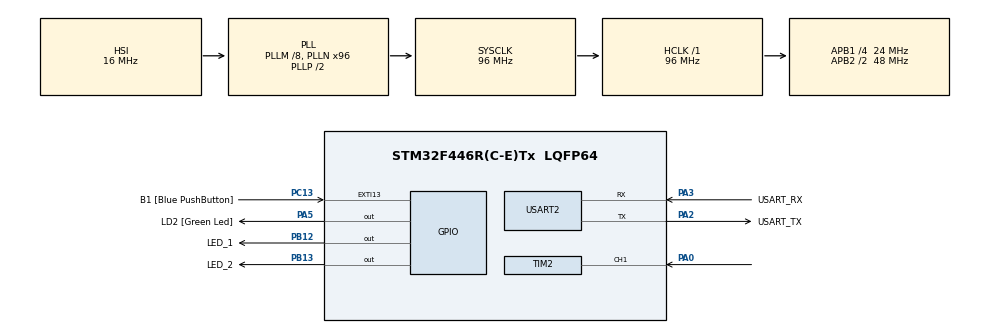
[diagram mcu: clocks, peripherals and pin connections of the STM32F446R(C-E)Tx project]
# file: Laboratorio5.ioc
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Mcu.Family=STM32F4
Mcu.Name=STM32F446R(C-E)Tx
Mcu.Package=LQFP64
NVIC.PriorityGroup=NVIC_PRIORITYGROUP_0
NVIC.TIM2_IRQn=true\:0\:0\:false\:false\:true\:true\:true\:true
NVIC.TIM6_DAC_IRQn=true\:0\:0\:false\:false\:true\:true\:true\:true
NVIC.TIM7_IRQn=true\:0\:0\:false\:false\:true\:true\:true\:true
NVIC.USART2_IRQn=true\:0\:0\:false\:false\:true\:true\:true\:true
PA0-WKUP.Signal=S_TIM2_CH1_ETR
PA13.GPIO_Label=TMS
PA13.Mode=Serial_Wire
PA13.Signal=SYS_JTMS-SWDIO
PA14.GPIO_Label=TCK
PA14.Mode=Serial_Wire
PA14.Signal=SYS_JTCK-SWCLK
PA2.GPIO_Label=USART_TX
PA2.Mode=Asynchronous
PA2.Signal=USART2_TX
PA3.GPIO_Label=USART_RX
PA3.Mode=Asynchronous
PA3.Signal=USART2_RX
PA5.GPIO_Label=LD2 [Green Led]
PA5.Signal=GPIO_Output
PB12.GPIO_Label=LED_1
PB12.Signal=GPIO_Output
PB13.GPIO_Label=LED_2
PB13.Signal=GPIO_Output
PB3.GPIO_Label=SWO
PB3.Signal=SYS_JTDO-SWO
PC13.GPIO_Label=B1 [Blue PushButton]
PC13.GPIO_ModeDefaultEXTI=GPIO_MODE_IT_FALLING
PC13.Signal=GPXTI13
PC14-OSC32_IN.Mode=LSE-External-Oscillator
PC14-OSC32_IN.Signal=RCC_OSC32_IN
PC15-OSC32_OUT.Mode=LSE-External-Oscillator
PC15-OSC32_OUT.Signal=RCC_OSC32_OUT
PH0-OSC_IN.Mode=HSE-External-Oscillator
PH0-OSC_IN.Signal=RCC_OSC_IN
PH1-OSC_OUT.Mode=HSE-External-Oscillator
PH1-OSC_OUT.Signal=RCC_OSC_OUT
ProjectManager.HeapSize=0x200
ProjectManager.StackSize=0x400
ProjectManager.TargetToolchain=STM32CubeIDE
RCC.48MHZClocksFreq_Value=84000000
RCC.AHBFreq_Value=96000000
RCC.APB1CLKDivider=RCC_HCLK_DIV4
RCC.APB1Freq_Value=24000000
RCC.APB1TimFreq_Value=48000000
RCC.APB2CLKDivider=RCC_HCLK_DIV2
RCC.APB2Freq_Value=48000000
RCC.APB2TimFreq_Value=96000000
RCC.CortexFreq_Value=96000000
RCC.FLatency-AdvancedSettings=FLASH_LATENCY_3
RCC.HCLKFreq_Value=96000000
RCC.HSE_VALUE=8000000
RCC.HSI_VALUE=16000000
RCC.PLLM=8
RCC.PLLN=96
RCC.SYSCLKFreq_VALUE=96000000
RCC.SYSCLKSource=RCC_SYSCLKSOURCE_PLLCLK
RCC.USBFreq_Value=96000000
RCC.VCOOutputFreq_Value=192000000
SH.S_TIM2_CH1_ETR.0=TIM2_CH1,Input_Capture1_from_TI1
TIM2.AutoReloadPreload=TIM_AUTORELOAD_PRELOAD_ENABLE
TIM2.Channel-Input_Capture1_from_TI1=TIM_CHANNEL_1
TIM2.CounterMode=TIM_COUNTERMODE_UP
TIM2.Prescaler=48-1
TIM6.AutoReloadPreload=TIM_AUTORELOAD_PRELOAD_ENABLE
TIM6.Period=249-1
TIM6.Prescaler=48000-1
TIM6.TIM_MasterOutputTrigger=TIM_TRGO_UPDATE
TIM7.AutoReloadPreload=TIM_AUTORELOAD_PRELOAD_ENABLE
TIM7.Period=999-1
TIM7.Prescaler=48000-1
TIM7.TIM_MasterOutputTrigger=TIM_TRGO_UPDATE
USART2.VirtualMode=VM_ASYNC
VP_TIM2_VS_ClockSourceINT.Mode=Internal
VP_TIM6_VS_ClockSourceINT.Mode=Enable_Timer
VP_TIM7_VS_ClockSourceINT.Mode=Enable_Timer
board=NUCLEO-F446RE

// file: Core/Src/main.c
/* USER CODE BEGIN Header */
/**
  ******************************************************************************
  * @file           : main.c
  * @brief          : Main program body
  ******************************************************************************
  * @attention
  *
  * Copyright (c) 2026 STMicroelectronics.
  * All rights reserved.
  *
  * This software is licensed under terms that can be found in the LICENSE file
  * in the root directory of this software component.
  * If no LICENSE file comes with this software, it is provided AS-IS.
  *
  ******************************************************************************
  */
/* USER CODE END Header */
#include "main.h"

/* USER CODE BEGIN Includes */
#include <stdio.h>
#include <string.h>
/* USER CODE END Includes */

/* USER CODE BEGIN PD */
#define ftimclk 1000000
/* USER CODE END PD */

TIM_HandleTypeDef htim2;
TIM_HandleTypeDef htim6;
TIM_HandleTypeDef htim7;

UART_HandleTypeDef huart2;

/* USER CODE BEGIN PV */
// Variables para Input Capture
uint8_t flagMedicion = 0;
volatile uint8_t numFlanco = 0;
volatile uint32_t flanco1 = 0;
volatile uint32_t flanco2 = 0;

uint32_t delta = 0;
float frecuencia = 0;
// Variables para UART
uint8_t buffer[10];
uint8_t dato = 80;
char datoArray[20];

volatile uint8_t bandera_1 = 0;
volatile uint8_t bandera_2 = 0;
/* USER CODE END PV */

void SystemClock_Config(void);
static void MX_GPIO_Init(void);
static void MX_TIM2_Init(void);
static void MX_USART2_UART_Init(void);
static void MX_TIM6_Init(void);
static void MX_TIM7_Init(void);
/* USER CODE BEGIN PFP */
void HAL_TIM_IC_CaptureCallback(TIM_HandleTypeDef *him);
/* USER CODE END PFP */

int main(void)
{

  /* MCU Configuration--------------------------------------------------------*/

  /* Reset of all peripherals, Initializes the Flash interface and the Systick. */
  HAL_Init();

  /* Configure the system clock */
  SystemClock_Config();

  /* Initialize all configured peripherals */
  MX_GPIO_Init();
  MX_TIM2_Init();
  MX_USART2_UART_Init();
  MX_TIM6_Init();
  MX_TIM7_Init();
  /* USER CODE BEGIN 2 */

  HAL_TIM_IC_Start_IT(&htim2, TIM_CHANNEL_1);
  HAL_TIM_Base_Start_IT(&htim6);
  HAL_TIM_Base_Start_IT(&htim7);

  /* USER CODE END 2 */

  /* Infinite loop */
  /* USER CODE BEGIN WHILE */
  while (1)
  {
	  // Código no bloqueante para medir frecuencia de una señal
	  if(flagMedicion){
	      flagMedicion = 0;
	      delta = flanco2 - flanco1;
	      frecuencia = ftimclk / (float) delta;

	      //sprintf((char*)datoArray, "%lu\r\n", frecuencia);
	      //HAL_UART_Transmit(&huart2, datoArray, strlen((char*)datoArray), 1000);

	      sprintf(datoArray, "%.2f\r\n", frecuencia);
	      HAL_UART_Transmit(&huart2, datoArray, strlen(datoArray), 1000);

	      HAL_TIM_IC_Start_IT(&htim2, TIM_CHANNEL_1);
	  }

	  // Bandera que activo en interrupciones para hacer toggle a pin
      if(bandera_1){
    	  HAL_GPIO_TogglePin(LED_1_GPIO_Port, LED_1_Pin);
    	  bandera_1 = 0;
    	  HAL_TIM_Base_Start_IT(&htim6);
      }

      if(bandera_2){
    	  HAL_GPIO_TogglePin(LED_2_GPIO_Port, LED_2_Pin);
    	  bandera_2 = 0;
    	  HAL_TIM_Base_Start_IT(&htim7);
      }

    /* USER CODE END WHILE */

  }
}

void SystemClock_Config(void)
{
  RCC_OscInitTypeDef RCC_OscInitStruct = {0};
  RCC_ClkInitTypeDef RCC_ClkInitStruct = {0};

  /** Configure the main internal regulator output voltage
  */
  __HAL_RCC_PWR_CLK_ENABLE();
  __HAL_PWR_VOLTAGESCALING_CONFIG(PWR_REGULATOR_VOLTAGE_SCALE3);

  /** Initializes the RCC Oscillators according to the specified parameters
  * in the RCC_OscInitTypeDef structure.
  */
  RCC_OscInitStruct.OscillatorType = RCC_OSCILLATORTYPE_HSI;
  RCC_OscInitStruct.HSIState = RCC_HSI_ON;
  RCC_OscInitStruct.HSICalibrationValue = RCC_HSICALIBRATION_DEFAULT;
  RCC_OscInitStruct.PLL.PLLState = RCC_PLL_ON;
  RCC_OscInitStruct.PLL.PLLSource = RCC_PLLSOURCE_HSI;
  RCC_OscInitStruct.PLL.PLLM = 8;
  RCC_OscInitStruct.PLL.PLLN = 96;
  RCC_OscInitStruct.PLL.PLLP = RCC_PLLP_DIV2;
  RCC_OscInitStruct.PLL.PLLQ = 2;
  RCC_OscInitStruct.PLL.PLLR = 2;
  if (HAL_RCC_OscConfig(&RCC_OscInitStruct) != HAL_OK)
  {
    Error_Handler();
  }

  /** Initializes the CPU, AHB and APB buses clocks
  */
  RCC_ClkInitStruct.ClockType = RCC_CLOCKTYPE_HCLK|RCC_CLOCKTYPE_SYSCLK
                              |RCC_CLOCKTYPE_PCLK1|RCC_CLOCKTYPE_PCLK2;
  RCC_ClkInitStruct.SYSCLKSource = RCC_SYSCLKSOURCE_PLLCLK;
  RCC_ClkInitStruct.AHBCLKDivider = RCC_SYSCLK_DIV1;
  RCC_ClkInitStruct.APB1CLKDivider = RCC_HCLK_DIV4;
  RCC_ClkInitStruct.APB2CLKDivider = RCC_HCLK_DIV2;

  if (HAL_RCC_ClockConfig(&RCC_ClkInitStruct, FLASH_LATENCY_3) != HAL_OK)
  {
    Error_Handler();
  }
}

static void MX_TIM2_Init(void)
{

  TIM_ClockConfigTypeDef sClockSourceConfig = {0};
  TIM_MasterConfigTypeDef sMasterConfig = {0};
  TIM_IC_InitTypeDef sConfigIC = {0};

  htim2.Instance = TIM2;
  htim2.Init.Prescaler = 48-1;
  htim2.Init.CounterMode = TIM_COUNTERMODE_UP;
  htim2.Init.Period = 4294967295;
  htim2.Init.ClockDivision = TIM_CLOCKDIVISION_DIV1;
  htim2.Init.AutoReloadPreload = TIM_AUTORELOAD_PRELOAD_ENABLE;
  if (HAL_TIM_Base_Init(&htim2) != HAL_OK)
  {
    Error_Handler();
  }
  sClockSourceConfig.ClockSource = TIM_CLOCKSOURCE_INTERNAL;
  if (HAL_TIM_ConfigClockSource(&htim2, &sClockSourceConfig) != HAL_OK)
  {
    Error_Handler();
  }
  if (HAL_TIM_IC_Init(&htim2) != HAL_OK)
  {
    Error_Handler();
  }
  sMasterConfig.MasterOutputTrigger = TIM_TRGO_RESET;
  sMasterConfig.MasterSlaveMode = TIM_MASTERSLAVEMODE_DISABLE;
  if (HAL_TIMEx_MasterConfigSynchronization(&htim2, &sMasterConfig) != HAL_OK)
  {
    Error_Handler();
  }
  sConfigIC.ICPolarity = TIM_INPUTCHANNELPOLARITY_RISING;
  sConfigIC.ICSelection = TIM_ICSELECTION_DIRECTTI;
  sConfigIC.ICPrescaler = TIM_ICPSC_DIV1;
  sConfigIC.ICFilter = 0;
  if (HAL_TIM_IC_ConfigChannel(&htim2, &sConfigIC, TIM_CHANNEL_1) != HAL_OK)
  {
    Error_Handler();
  }

}

static void MX_TIM6_Init(void)
{

  TIM_MasterConfigTypeDef sMasterConfig = {0};

  htim6.Instance = TIM6;
  htim6.Init.Prescaler = 48000-1;
  htim6.Init.CounterMode = TIM_COUNTERMODE_UP;
  htim6.Init.Period = 249-1;
  htim6.Init.AutoReloadPreload = TIM_AUTORELOAD_PRELOAD_ENABLE;
  if (HAL_TIM_Base_Init(&htim6) != HAL_OK)
  {
    Error_Handler();
  }
  sMasterConfig.MasterOutputTrigger = TIM_TRGO_UPDATE;
  sMasterConfig.MasterSlaveMode = TIM_MASTERSLAVEMODE_DISABLE;
  if (HAL_TIMEx_MasterConfigSynchronization(&htim6, &sMasterConfig) != HAL_OK)
  {
    Error_Handler();
  }

}

static void MX_TIM7_Init(void)
{

  TIM_MasterConfigTypeDef sMasterConfig = {0};

  htim7.Instance = TIM7;
  htim7.Init.Prescaler = 48000-1;
  htim7.Init.CounterMode = TIM_COUNTERMODE_UP;
  htim7.Init.Period = 999-1;
  htim7.Init.AutoReloadPreload = TIM_AUTORELOAD_PRELOAD_ENABLE;
  if (HAL_TIM_Base_Init(&htim7) != HAL_OK)
  {
    Error_Handler();
  }
  sMasterConfig.MasterOutputTrigger = TIM_TRGO_UPDATE;
  sMasterConfig.MasterSlaveMode = TIM_MASTERSLAVEMODE_DISABLE;
  if (HAL_TIMEx_MasterConfigSynchronization(&htim7, &sMasterConfig) != HAL_OK)
  {
    Error_Handler();
  }

}

static void MX_USART2_UART_Init(void)
{

  huart2.Instance = USART2;
  huart2.Init.BaudRate = 115200;
  huart2.Init.WordLength = UART_WORDLENGTH_8B;
  huart2.Init.StopBits = UART_STOPBITS_1;
  huart2.Init.Parity = UART_PARITY_NONE;
  huart2.Init.Mode = UART_MODE_TX_RX;
  huart2.Init.HwFlowCtl = UART_HWCONTROL_NONE;
  huart2.Init.OverSampling = UART_OVERSAMPLING_16;
  if (HAL_UART_Init(&huart2) != HAL_OK)
  {
    Error_Handler();
  }

}

static void MX_GPIO_Init(void)
{
  GPIO_InitTypeDef GPIO_InitStruct = {0};

  /* GPIO Ports Clock Enable */
  __HAL_RCC_GPIOC_CLK_ENABLE();
  __HAL_RCC_GPIOH_CLK_ENABLE();
  __HAL_RCC_GPIOA_CLK_ENABLE();
  __HAL_RCC_GPIOB_CLK_ENABLE();

  /*Configure GPIO pin Output Level */
  HAL_GPIO_WritePin(LD2_GPIO_Port, LD2_Pin, GPIO_PIN_RESET);

  /*Configure GPIO pin Output Level */
  HAL_GPIO_WritePin(GPIOB, LED_1_Pin|LED_2_Pin, GPIO_PIN_RESET);

  /*Configure GPIO pin : B1_Pin */
  GPIO_InitStruct.Pin = B1_Pin;
  GPIO_InitStruct.Mode = GPIO_MODE_IT_FALLING;
  GPIO_InitStruct.Pull = GPIO_NOPULL;
  HAL_GPIO_Init(B1_GPIO_Port, &GPIO_InitStruct);

  /*Configure GPIO pin : LD2_Pin */
  GPIO_InitStruct.Pin = LD2_Pin;
  GPIO_InitStruct.Mode = GPIO_MODE_OUTPUT_PP;
  GPIO_InitStruct.Pull = GPIO_NOPULL;
  GPIO_InitStruct.Speed = GPIO_SPEED_FREQ_LOW;
  HAL_GPIO_Init(LD2_GPIO_Port, &GPIO_InitStruct);

  /*Configure GPIO pins : LED_1_Pin LED_2_Pin */
  GPIO_InitStruct.Pin = LED_1_Pin|LED_2_Pin;
  GPIO_InitStruct.Mode = GPIO_MODE_OUTPUT_PP;
  GPIO_InitStruct.Pull = GPIO_NOPULL;
  GPIO_InitStruct.Speed = GPIO_SPEED_FREQ_LOW;
  HAL_GPIO_Init(GPIOB, &GPIO_InitStruct);

}

/* USER CODE BEGIN 4 */
void HAL_TIM_IC_CaptureCallback(TIM_HandleTypeDef *him){

	if (numFlanco == 0){ //Se detecta el primer flanco
		flanco1 = HAL_TIM_ReadCapturedValue(him, TIM_CHANNEL_1); // Se guarda en la variable flanco1
		numFlanco = 1;
	}else {
		flanco2 = HAL_TIM_ReadCapturedValue(him, TIM_CHANNEL_1);
		HAL_TIM_IC_Stop(&htim2, TIM_CHANNEL_1); // Se para la captura de flanco

		numFlanco = 0;
		flagMedicion = 1;
	}
}

// Callback para detectar la interrupción del TIMER 6 y 7
void HAL_TIM_PeriodElapsedCallback(TIM_HandleTypeDef *htim){
	if(htim == &htim6){
		bandera_1 = 1;
	}
	if(htim == &htim7){
		bandera_2 = 1;
	}
}

/* USER CODE END 4 */

void Error_Handler(void)
{
  __disable_irq();
  while (1)
  {
  }
}
